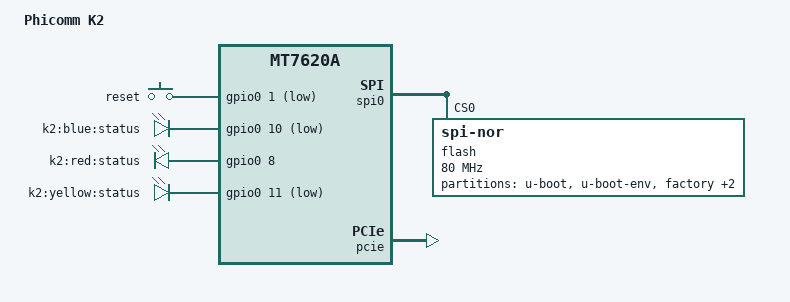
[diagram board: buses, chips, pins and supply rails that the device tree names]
/dts-v1/;

#include "mt7620a.dtsi"

#include <dt-bindings/gpio/gpio.h>
#include <dt-bindings/input/input.h>

/ {
	compatible = "phicomm,k2", "ralink,mt7620a-soc";
	model = "Phicomm K2";

	aliases {
		led-boot = &led_red;
		led-failsafe = &led_red;
		led-running = &led_yellow;
		led-upgrade = &led_red;
	};

	keys {
		compatible = "gpio-keys";

		reset {
			label = "reset";
			gpios = <&gpio0 1 GPIO_ACTIVE_LOW>;
			linux,code = <KEY_RESTART>;
		};
	};

	leds {
		compatible = "gpio-leds";

		blue {
			label = "k2:blue:status";
			gpios = <&gpio0 10 GPIO_ACTIVE_LOW>;
		};

		led_red: red {
			label = "k2:red:status";
			gpios = <&gpio0 8 GPIO_ACTIVE_HIGH>;
		};

		led_yellow: yellow {
			label = "k2:yellow:status";
			gpios = <&gpio0 11 GPIO_ACTIVE_LOW>;
		};
	};
};

&spi0 {
	status = "okay";

	flash@0 {
		compatible = "jedec,spi-nor";
		reg = <0>;
		spi-max-frequency = <80000000>;
		m25p,fast-read;

		partitions {
			compatible = "fixed-partitions";
			#address-cells = <1>;
			#size-cells = <1>;

			partition@0 {
				label = "u-boot";
				reg = <0x0 0x30000>;
				read-only;
			};

			partition@30000 {
				label = "u-boot-env";
				reg = <0x30000 0x10000>;
				read-only;
			};

			factory: partition@40000 {
				label = "factory";
				reg = <0x40000 0x10000>;
				read-only;
			};

			partition@50000 {
				label = "permanent_config";
				reg = <0x50000 0x50000>;
				read-only;
			};

			partition@a0000 {
				compatible = "denx,uimage";
				label = "firmware";
				reg = <0xa0000 0x760000>;
			};
		};
	};
};

&state_default {
	gpio {
		ralink,group = "i2c", "uartf";
		ralink,function = "gpio";
	};
};

&ethernet {
	mtd-mac-address = <&factory 0x28>;

	mediatek,portmap = "llllw";
};

&pcie {
	status = "okay";
};

&pcie0 {
	wifi@0,0 {
		reg = <0x0000 0 0 0 0>;
		mediatek,mtd-eeprom = <&factory 0x8000>;
		ieee80211-freq-limit = <5000000 6000000>;
	};
};

&wmac {
	pinctrl-names = "default";
	pinctrl-0 = <&pa_pins>;

	ralink,mtd-eeprom = <&factory 0>;

	status = "disabled";
};
